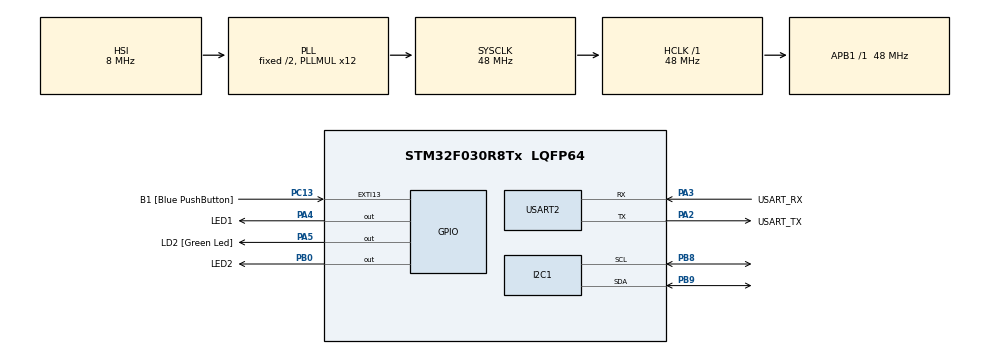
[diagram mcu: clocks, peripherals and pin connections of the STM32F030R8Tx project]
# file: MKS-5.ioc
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Dma.Request0=USART2_RX
Dma.USART2_RX.0.Direction=DMA_PERIPH_TO_MEMORY
Dma.USART2_RX.0.Instance=DMA1_Channel5
Dma.USART2_RX.0.MemDataAlignment=DMA_MDATAALIGN_BYTE
Dma.USART2_RX.0.MemInc=DMA_MINC_ENABLE
Dma.USART2_RX.0.Mode=DMA_CIRCULAR
Dma.USART2_RX.0.PeriphDataAlignment=DMA_PDATAALIGN_BYTE
Dma.USART2_RX.0.PeriphInc=DMA_PINC_DISABLE
Dma.USART2_RX.0.Priority=DMA_PRIORITY_LOW
I2C1.Timing=0x00201D2B
Mcu.Family=STM32F0
Mcu.Name=STM32F030R8Tx
Mcu.Package=LQFP64
NVIC.DMA1_Channel4_5_IRQn=true\:0\:0\:false\:false\:true\:false\:true\:true
PA13.GPIO_Label=TMS
PA13.Mode=Serial_Wire
PA13.Signal=SYS_SWDIO
PA14.GPIO_Label=TCK
PA14.Mode=Serial_Wire
PA14.Signal=SYS_SWCLK
PA2.GPIO_Label=USART_TX
PA2.GPIO_Mode=GPIO_MODE_AF_PP
PA2.GPIO_PuPd=GPIO_NOPULL
PA2.GPIO_Speed=GPIO_SPEED_FREQ_LOW
PA2.Mode=Asynchronous
PA2.Signal=USART2_TX
PA3.GPIO_Label=USART_RX
PA3.GPIO_Mode=GPIO_MODE_AF_PP
PA3.GPIO_PuPd=GPIO_NOPULL
PA3.GPIO_Speed=GPIO_SPEED_FREQ_LOW
PA3.Mode=Asynchronous
PA3.Signal=USART2_RX
PA4.GPIO_Label=LED1
PA4.Signal=GPIO_Output
PA5.GPIO_Label=LD2 [Green Led]
PA5.GPIO_Mode=GPIO_MODE_OUTPUT_PP
PA5.GPIO_PuPd=GPIO_NOPULL
PA5.GPIO_Speed=GPIO_SPEED_FREQ_LOW
PA5.Signal=GPIO_Output
PB0.GPIO_Label=LED2
PB0.Signal=GPIO_Output
PB8.Mode=I2C
PB8.Signal=I2C1_SCL
PB9.Mode=I2C
PB9.Signal=I2C1_SDA
PC13.GPIO_Label=B1 [Blue PushButton]
PC13.GPIO_ModeDefaultEXTI=GPIO_MODE_IT_FALLING
PC13.Signal=GPXTI13
PC14-OSC32_IN.Mode=LSE-External-Oscillator
PC14-OSC32_IN.Signal=RCC_OSC32_IN
PC15-OSC32_OUT.Mode=LSE-External-Oscillator
PC15-OSC32_OUT.Signal=RCC_OSC32_OUT
PF0-OSC_IN.Mode=HSE-External-Clock-Source
PF0-OSC_IN.Signal=RCC_OSC_IN
PF1-OSC_OUT.Signal=RCC_OSC_OUT
ProjectManager.HeapSize=0x200
ProjectManager.StackSize=0x400
ProjectManager.TargetToolchain=STM32CubeIDE
RCC.AHBFreq_Value=48000000
RCC.APB1Freq_Value=48000000
RCC.APB1TimFreq_Value=48000000
RCC.HCLKFreq_Value=48000000
RCC.PLLMUL=RCC_PLL_MUL12
RCC.SYSCLKFreq_VALUE=48000000
RCC.SYSCLKSource=RCC_SYSCLKSOURCE_PLLCLK
USART2.VirtualMode-Asynchronous=VM_ASYNC
board=NUCLEO-F030R8

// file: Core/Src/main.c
/* USER CODE BEGIN Header */
/**
  ******************************************************************************
  * @file           : main.c
  * @brief          : Main program body
  ******************************************************************************
  * @attention
  *
  * Copyright (c) 2024 STMicroelectronics.
  * All rights reserved.
  *
  * This software is licensed under terms that can be found in the LICENSE file
  * in the root directory of this software component.
  * If no LICENSE file comes with this software, it is provided AS-IS.
  *
  ******************************************************************************
  */
/* USER CODE END Header */
#include "main.h"

/* USER CODE BEGIN Includes */
#include <stdio.h>
#include <string.h>
#include <stdlib.h>
/* USER CODE END Includes */

/* USER CODE BEGIN PD */
#define RX_BUF_LEN 64
#define CMD_BUF_LEN (RX_BUF_LEN)
#define uart_rx_write_ptr (RX_BUF_LEN - hdma_usart2_rx.Instance->CNDTR)
#define EEPROM_ADDR 0xA0
/* USER CODE END PD */

I2C_HandleTypeDef hi2c1;

UART_HandleTypeDef huart2;
DMA_HandleTypeDef hdma_usart2_rx;

/* USER CODE BEGIN PV */
static uint8_t uart_rx_buf[RX_BUF_LEN];
static volatile uint16_t uart_rx_read_ptr = 0;
/* USER CODE END PV */

void SystemClock_Config(void);
static void MX_GPIO_Init(void);
static void MX_DMA_Init(void);
static void MX_USART2_UART_Init(void);
static void MX_I2C1_Init(void);

/* USER CODE BEGIN 0 */
int _write (int file, char const *buf, int n) {
	HAL_UART_Transmit(&huart2, (uint8_t *)buf, n, HAL_MAX_DELAY);
	return n;
}
static void uart_process_command (const char* data) {
	char *token;
	token = strtok(data, " ");
	if (strcasecmp(token, "HELLO") == 0) {
		printf("Hello\nCommunication OK\n");
	} else if (strcasecmp(token, "LED1") == 0) {
		token = strtok(NULL, " ");
		if (strcasecmp(token, "ON") == 0) {
			HAL_GPIO_WritePin(LED1_GPIO_Port, LED1_Pin, 1);
		} else if (strcasecmp(token, "OFF") == 0) {
			HAL_GPIO_WritePin(LED1_GPIO_Port, LED1_Pin, 0);
		}
		printf("OK\n");
	} else if (strcasecmp(token, "LED2") == 0) {
		token = strtok(NULL, " ");
		if (strcasecmp(token, "ON") == 0) {
			HAL_GPIO_WritePin(LED2_GPIO_Port, LED2_Pin, 1);
		} else if (strcasecmp(token, "OFF") == 0) {
			HAL_GPIO_WritePin(LED2_GPIO_Port, LED2_Pin, 0);
		}
		printf("OK\n");
	} else if (strcasecmp(token, "STATUS") == 0) {
		char led1_status[4];
		char led2_status[4];
		if (HAL_GPIO_ReadPin(LED1_GPIO_Port, LED1_Pin)) {
			strcpy(led1_status, "ON");
		} else {
			strcpy(led1_status, "OFF");
		}
		if (HAL_GPIO_ReadPin(LED2_GPIO_Port, LED2_Pin)) {
			strcpy(led2_status, "ON");
		} else {
			strcpy(led2_status, "OFF");
		}
		printf("LED1: %s\nLED2: %s\n", led1_status, led2_status);
	} else if (strcasecmp(token, "READ") == 0) {
		token = strtok(NULL, " ");
		uint8_t value;
		uint16_t addr = atoi(token);
		HAL_I2C_Mem_Read(&hi2c1, EEPROM_ADDR, addr, I2C_MEMADD_SIZE_16BIT, &value, sizeof(value), 1000);
		printf("Addr 0x%02X: 0x%02X\n", addr, value);

	} else if (strcasecmp(token, "WRITE") == 0) {
		token = strtok(NULL, " ");
		uint16_t addr = atoi(token);
		token = strtok(NULL, " ");
		uint8_t value = atoi(token);

		HAL_I2C_Mem_Write(&hi2c1, EEPROM_ADDR, addr, I2C_MEMADD_SIZE_16BIT, &value, sizeof(value), 1000);
		/* Check if the EEPROM is ready for a new operation */
		while (HAL_I2C_IsDeviceReady(&hi2c1, EEPROM_ADDR, 300, 1000) == HAL_TIMEOUT) {}
		printf("OK\n");

	} else if (strcasecmp(token, "DUMP") == 0) {
		uint8_t value;
		uint16_t addr = 0x0000;
		for (uint8_t i = 0; i <= 0x000F; i++) {
			HAL_I2C_Mem_Read(&hi2c1, EEPROM_ADDR, addr, I2C_MEMADD_SIZE_16BIT, &value, sizeof(value), 1000);
			printf("%02X ", value);
			if (i % 8 == 7 && i != 16) {
				printf("\n");
			}
			addr++;
		}
		printf("\n");
	}

	//printf("Prijata data: %s\n", data);
}

static void uart_byte_available(uint8_t c) {
	static uint16_t cnt;
	static char data[CMD_BUF_LEN];

	if (cnt < CMD_BUF_LEN && c >= 32 && c <= 126) {
		data[cnt++] = c;
	}
	if ( (c == '\n' || c == '\r') && cnt > 0) {
		data[cnt] = '\0';
		cnt = 0;
		uart_process_command(data);
	}
}

/* USER CODE END 0 */

int main(void)
{

  /* MCU Configuration--------------------------------------------------------*/

  /* Reset of all peripherals, Initializes the Flash interface and the Systick. */
  HAL_Init();

  /* Configure the system clock */
  SystemClock_Config();

  /* Initialize all configured peripherals */
  MX_GPIO_Init();
  MX_DMA_Init();
  MX_USART2_UART_Init();
  MX_I2C1_Init();
  /* USER CODE BEGIN 2 */

  HAL_UART_Receive_DMA(&huart2, uart_rx_buf, RX_BUF_LEN);
  /* USER CODE END 2 */

  /* Infinite loop */
  /* USER CODE BEGIN WHILE */
  while (1)
  {

	  /*
	  uint8_t c;
	  HAL_UART_Receive(&huart2, &c, sizeof(c), HAL_MAX_DELAY);
	  HAL_UART_Transmit(&huart2, &c, sizeof(c), HAL_MAX_DELAY);
	  */
	  while (uart_rx_read_ptr != uart_rx_write_ptr) {
		  uint8_t b = uart_rx_buf[uart_rx_read_ptr];

		  if (++uart_rx_read_ptr >= RX_BUF_LEN) {
			  uart_rx_read_ptr = 0;
		  }
		  uart_byte_available(b);
	  }

    /* USER CODE END WHILE */

  }
}

void SystemClock_Config(void)
{
  RCC_OscInitTypeDef RCC_OscInitStruct = {0};
  RCC_ClkInitTypeDef RCC_ClkInitStruct = {0};
  RCC_PeriphCLKInitTypeDef PeriphClkInit = {0};

  /** Initializes the RCC Oscillators according to the specified parameters
  * in the RCC_OscInitTypeDef structure.
  */
  RCC_OscInitStruct.OscillatorType = RCC_OSCILLATORTYPE_HSI;
  RCC_OscInitStruct.HSIState = RCC_HSI_ON;
  RCC_OscInitStruct.HSICalibrationValue = RCC_HSICALIBRATION_DEFAULT;
  RCC_OscInitStruct.PLL.PLLState = RCC_PLL_ON;
  RCC_OscInitStruct.PLL.PLLSource = RCC_PLLSOURCE_HSI;
  RCC_OscInitStruct.PLL.PLLMUL = RCC_PLL_MUL12;
  RCC_OscInitStruct.PLL.PREDIV = RCC_PREDIV_DIV1;
  if (HAL_RCC_OscConfig(&RCC_OscInitStruct) != HAL_OK)
  {
    Error_Handler();
  }

  /** Initializes the CPU, AHB and APB buses clocks
  */
  RCC_ClkInitStruct.ClockType = RCC_CLOCKTYPE_HCLK|RCC_CLOCKTYPE_SYSCLK
                              |RCC_CLOCKTYPE_PCLK1;
  RCC_ClkInitStruct.SYSCLKSource = RCC_SYSCLKSOURCE_PLLCLK;
  RCC_ClkInitStruct.AHBCLKDivider = RCC_SYSCLK_DIV1;
  RCC_ClkInitStruct.APB1CLKDivider = RCC_HCLK_DIV1;

  if (HAL_RCC_ClockConfig(&RCC_ClkInitStruct, FLASH_LATENCY_1) != HAL_OK)
  {
    Error_Handler();
  }
  PeriphClkInit.PeriphClockSelection = RCC_PERIPHCLK_I2C1;
  PeriphClkInit.I2c1ClockSelection = RCC_I2C1CLKSOURCE_HSI;
  if (HAL_RCCEx_PeriphCLKConfig(&PeriphClkInit) != HAL_OK)
  {
    Error_Handler();
  }
}

static void MX_I2C1_Init(void)
{

  hi2c1.Instance = I2C1;
  hi2c1.Init.Timing = 0x00201D2B;
  hi2c1.Init.OwnAddress1 = 0;
  hi2c1.Init.AddressingMode = I2C_ADDRESSINGMODE_7BIT;
  hi2c1.Init.DualAddressMode = I2C_DUALADDRESS_DISABLE;
  hi2c1.Init.OwnAddress2 = 0;
  hi2c1.Init.OwnAddress2Masks = I2C_OA2_NOMASK;
  hi2c1.Init.GeneralCallMode = I2C_GENERALCALL_DISABLE;
  hi2c1.Init.NoStretchMode = I2C_NOSTRETCH_DISABLE;
  if (HAL_I2C_Init(&hi2c1) != HAL_OK)
  {
    Error_Handler();
  }

  /** Configure Analogue filter
  */
  if (HAL_I2CEx_ConfigAnalogFilter(&hi2c1, I2C_ANALOGFILTER_ENABLE) != HAL_OK)
  {
    Error_Handler();
  }

  /** Configure Digital filter
  */
  if (HAL_I2CEx_ConfigDigitalFilter(&hi2c1, 0) != HAL_OK)
  {
    Error_Handler();
  }

}

static void MX_USART2_UART_Init(void)
{

  huart2.Instance = USART2;
  huart2.Init.BaudRate = 38400;
  huart2.Init.WordLength = UART_WORDLENGTH_8B;
  huart2.Init.StopBits = UART_STOPBITS_1;
  huart2.Init.Parity = UART_PARITY_NONE;
  huart2.Init.Mode = UART_MODE_TX_RX;
  huart2.Init.HwFlowCtl = UART_HWCONTROL_NONE;
  huart2.Init.OverSampling = UART_OVERSAMPLING_16;
  huart2.Init.OneBitSampling = UART_ONE_BIT_SAMPLE_DISABLE;
  huart2.AdvancedInit.AdvFeatureInit = UART_ADVFEATURE_NO_INIT;
  if (HAL_UART_Init(&huart2) != HAL_OK)
  {
    Error_Handler();
  }

}

static void MX_DMA_Init(void)
{

  /* DMA controller clock enable */
  __HAL_RCC_DMA1_CLK_ENABLE();

  /* DMA interrupt init */
  /* DMA1_Channel4_5_IRQn interrupt configuration */
  HAL_NVIC_SetPriority(DMA1_Channel4_5_IRQn, 0, 0);
  HAL_NVIC_EnableIRQ(DMA1_Channel4_5_IRQn);

}

static void MX_GPIO_Init(void)
{
  GPIO_InitTypeDef GPIO_InitStruct = {0};

  /* GPIO Ports Clock Enable */
  __HAL_RCC_GPIOC_CLK_ENABLE();
  __HAL_RCC_GPIOF_CLK_ENABLE();
  __HAL_RCC_GPIOA_CLK_ENABLE();
  __HAL_RCC_GPIOB_CLK_ENABLE();

  /*Configure GPIO pin Output Level */
  HAL_GPIO_WritePin(GPIOA, LED1_Pin|LD2_Pin, GPIO_PIN_RESET);

  /*Configure GPIO pin Output Level */
  HAL_GPIO_WritePin(LED2_GPIO_Port, LED2_Pin, GPIO_PIN_RESET);

  /*Configure GPIO pin : B1_Pin */
  GPIO_InitStruct.Pin = B1_Pin;
  GPIO_InitStruct.Mode = GPIO_MODE_IT_FALLING;
  GPIO_InitStruct.Pull = GPIO_NOPULL;
  HAL_GPIO_Init(B1_GPIO_Port, &GPIO_InitStruct);

  /*Configure GPIO pins : LED1_Pin LD2_Pin */
  GPIO_InitStruct.Pin = LED1_Pin|LD2_Pin;
  GPIO_InitStruct.Mode = GPIO_MODE_OUTPUT_PP;
  GPIO_InitStruct.Pull = GPIO_NOPULL;
  GPIO_InitStruct.Speed = GPIO_SPEED_FREQ_LOW;
  HAL_GPIO_Init(GPIOA, &GPIO_InitStruct);

  /*Configure GPIO pin : LED2_Pin */
  GPIO_InitStruct.Pin = LED2_Pin;
  GPIO_InitStruct.Mode = GPIO_MODE_OUTPUT_PP;
  GPIO_InitStruct.Pull = GPIO_NOPULL;
  GPIO_InitStruct.Speed = GPIO_SPEED_FREQ_LOW;
  HAL_GPIO_Init(LED2_GPIO_Port, &GPIO_InitStruct);

}

void Error_Handler(void)
{
  __disable_irq();
  while (1)
  {
  }
}
